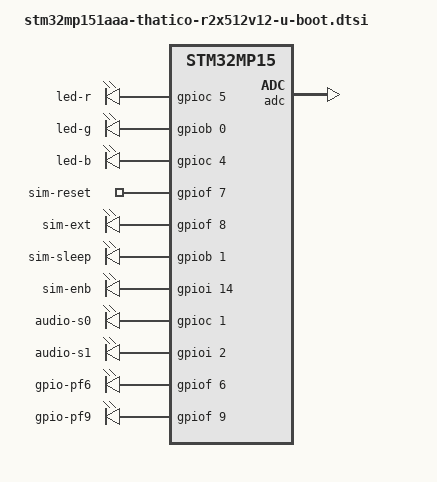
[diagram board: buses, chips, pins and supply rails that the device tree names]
// SPDX-License-Identifier: GPL-2.0-or-later OR BSD-3-Clause
/*
 * Copyright : STMicroelectronics 2022
 */

#include "stm32mp15-scmi-u-boot.dtsi"

/ {
	aliases {
		i2c0 = &i2c1;
		i2c1 = &i2c2;
		i2c2 = &i2c3;
		i2c3 = &i2c4;
		i2c4 = &i2c5;
		usb0 = &usbotg_hs;
	};

	config {
		u-boot,boot-led = "heartbeat";
		u-boot,error-led = "error";
		u-boot,mmc-env-partition = "u-boot-env";
		st,adc_usb_pd = <&adc1 18>, <&adc1 19>;
		st,fastboot-gpios = <&gpioa 13 (GPIO_ACTIVE_LOW | GPIO_PULL_UP)>;
		st,stm32prog-gpios = <&gpioa 14 (GPIO_ACTIVE_LOW | GPIO_PULL_UP)>;
	};

	led {
		compatible = "gpio-leds";
		led-r {
			label = "led-r";
			gpios = <&gpioc 5 GPIO_ACTIVE_HIGH>;
			default-state = "off";
			status = "okay";
		};

		led-g {
			label = "led-g";
			gpios = <&gpiob 0 GPIO_ACTIVE_HIGH>;
			default-state = "off";
			status = "okay";
		};

		led-b {
			label = "led-b";
			gpios = <&gpioc 4 GPIO_ACTIVE_HIGH>;
			default-state = "off";
			status = "okay";
		};

		sim-reset {
			label = "sim-reset";
			gpios = <&gpiof 7 GPIO_ACTIVE_HIGH>;
			default-state = "off";
			status = "okay";
		};

		sim-ext {
			label = "sim-ext";
			gpios = <&gpiof 8 GPIO_ACTIVE_HIGH>;
			default-state = "off";
			status = "okay";
		};

		sim-sleep {
			label = "sim-sleep";
			gpios = <&gpiob 1 GPIO_ACTIVE_HIGH>;
			default-state = "off";
			status = "okay";
		};

		sim-enb {
			label = "sim-enb";
			gpios = <&gpioi 14 GPIO_ACTIVE_HIGH>;
			default-state = "off";
			status = "okay";
		};

		audio-s0 {
			label = "audio-s0";
			gpios = <&gpioc 1 GPIO_ACTIVE_HIGH>;
			default-state = "off";
			status = "okay";
		};

		audio-s1 {
			label = "audio-s1";
			gpios = <&gpioi 2 GPIO_ACTIVE_HIGH>;
			default-state = "off";
			status = "okay";
		};

		gpio-pf6 {
			label = "gpio-pf6";
			gpios = <&gpiof 6 GPIO_ACTIVE_HIGH>;
			default-state = "off";
			status = "okay";
		};

		gpio-pf9 {
			label = "gpio-pf9";
			gpios = <&gpiof 9 GPIO_ACTIVE_HIGH>;
			default-state = "off";
			status = "okay";
		};
	};
};

&adc {
	status = "okay";
};

&uart4 {
	u-boot,dm-pre-reloc;
};

&uart4_pins_a {
	u-boot,dm-pre-reloc;
	pins1 {
		u-boot,dm-pre-reloc;
	};
	pins2 {
		u-boot,dm-pre-reloc;
		/* pull-up on rx to avoid floating level */
		bias-pull-up;
	};
};

&usbotg_hs {
	u-boot,force-b-session-valid;
};
